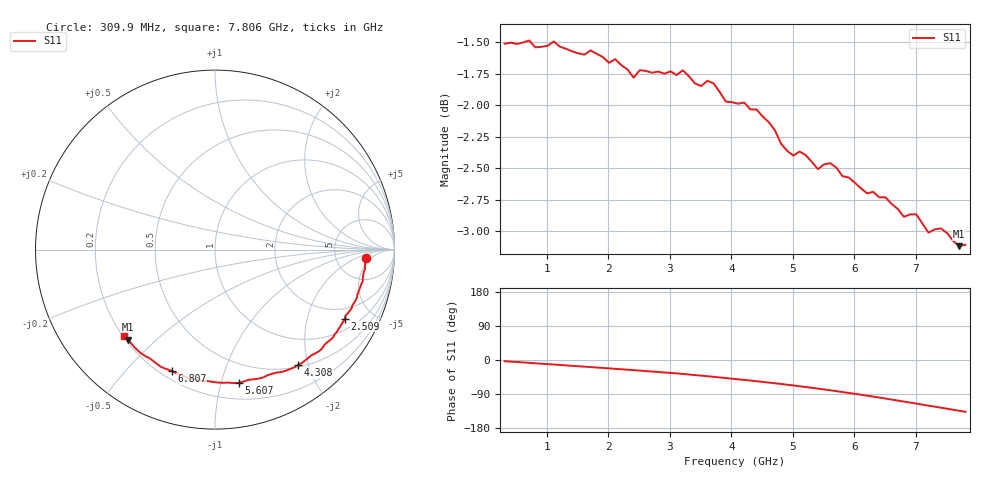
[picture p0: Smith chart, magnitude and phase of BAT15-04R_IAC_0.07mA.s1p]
! Infineon Technologies  Discrete & RF Semiconductors
! BAT15-04R
! IAC = 0.07 mA
! One-Port S-Parameters
# Hz  S  MA  R  50
!f  S11
!Hz  Mag  Ang
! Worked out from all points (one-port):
!   76 points, 309.9 MHz to 7.806 GHz, reference 50 ohm
!   lowest |S11| = -3.1 dB at 7.706 GHz (marker M1), VSWR 5.63, Z = 10.4 - j20.4 ohm
!   |S11| at or under -10 dB: nowhere
!   S11 on the Smith chart (normalised r, x): 309.9 MHz: 10, -3; 2.509 GHz: 1.46, -3.43; 4.308 GHz: 0.53, -1.83; 5.607 GHz: 0.33, -1.14; 6.807 GHz: 0.24, -0.68; 7.806 GHz: 0.20, -0.38
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3.0985e8  0.8403 -3.2
7.0965e8  0.8429 -7.5
8.096e8  0.8376 -8.6
1.10945e9  0.8421 -12.0
1.30935e9  0.8364 -14.3
1.70915e9  0.8352 -18.7
2.2089e9  0.824 -24.5
2.4088e9  0.8146 -26.8
2.50875e9  0.8202 -28.0
3.10845e9  0.8166 -35.3
3.2084e9  0.8201 -36.8
3.70815e9  0.8104 -44.4
4.10795e9  0.7954 -50.9
4.30785e9  0.7913 -54.2
4.6077e9  0.7821 -59.6
5.0075e9  0.7585 -67.2
5.10745e9  0.7613 -69.2
5.4073e9  0.7491 -75.6
5.6072e9  0.7533 -79.8
6.007e9  0.7399 -89.2
6.50675e9  0.7301 -101.8
6.8066e9  0.7171 -109.7
6.90655e9  0.7188 -112.3
7.0065e9  0.7188 -115.0
7.2064e9  0.7068 -120.6
7.4063e9  0.7096 -125.7
7.70615e9  0.6982 -134.1
7.8061e9  0.6991 -136.8
